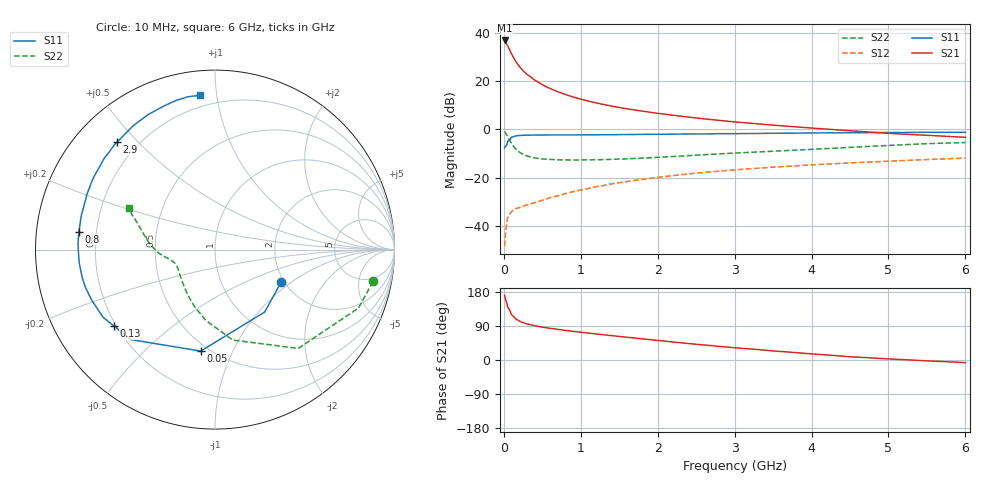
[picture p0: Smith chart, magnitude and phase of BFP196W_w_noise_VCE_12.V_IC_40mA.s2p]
! Infineon Technologies  Discrete & RF Semiconductors
! BFP196W
! VCE =  12. V,  IC =  40 mA
! Common Emitter S-Parameters:  Jan 2017
# GHz  S  MA  R  50
!  f  S11  S21  S12  S22
! GHz  MAG  ANG  MAG  ANG  MAG  ANG  MAG  ANG
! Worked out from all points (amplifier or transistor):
!   77 points, 10 MHz to 6 GHz, reference 50 ohm
!   highest |S21| = 36.8 dB at 10 MHz (marker M1)
!   |S21| within 3 dB of that: start of sweep to 62.11 MHz
!   unconditionally stable (mu >= 1): 802.1 MHz to 3.271 GHz
!   at 130 MHz: K = 0.36, MSG = 31.4 dB, |S12| = -33.4 dB
!   at 2.2 GHz: K = 1.05, MAG = 11.1 dB, |S12| = -19.2 dB
!   at 6 GHz: K = 0.91, MSG = 4.3 dB, |S12| = -11.9 dB
!   lowest NFmin = 1.24 dB at 450 MHz
!   S11 on the Smith chart (normalised r, x): 10 MHz: 1.93, -0.84; 50 MHz: 0.45, -0.76; 130 MHz: 0.19, -0.33; 800 MHz: 0.13, +0.06; 2.9 GHz: 0.13, +0.44; 6 GHz: 0.13, +0.90
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0.01  0.4107 -26.0  69.04 170.7  0.0038 62.1  0.8982 -11.4
0.02  0.4445 -51.5  65.94 161.3  0.0064 75.4  0.8637 -22.1
0.05  0.5709 -98.0  53.58 139.7  0.0148 53.1  0.7199 -49.9
0.1  0.6865 -133.1  36.07 119.4  0.0198 43.4  0.5135 -78.9
0.13  0.7055 -142.8  29.96 114.1  0.0215 40.4  0.4387 -88.8
0.15  0.7288 -148.9  26.08 109.3  0.0227 38.7  0.3983 -97.3
0.2  0.7423 -157.7  20.16 102.8  0.0238 37.9  0.3394 -109.3
0.25  0.752 -163.8  16.37 98.4  0.0256 38.5  0.3022 -118.6
0.3  0.7561 -168.3  13.72 95.3  0.0272 40.7  0.2802 -125.5
0.4  0.7598 -174.2  10.43 90.3  0.0301 45.4  0.2556 -135.5
0.5  0.7608 -178.4  8.366 86.7  0.0339 48.7  0.2434 -142.3
0.6  0.7636 178.0  7 83.6  0.0384 51.8  0.238 -147.1
0.7  0.7638 175.2  5.997 80.9  0.0418 54.3  0.2335 -150.7
0.8  0.765 172.5  5.254 78.1  0.0465 55.9  0.2324 -153.2
1.1  0.7688 165.5  3.837 71.1  0.0597 58.2  0.2331 -158.6
1.5  0.7762 157.3  2.827 62.2  0.0783 58.6  0.2418 -163.5
2.1  0.7898 145.8  2.045 49.6  0.1055 56.3  0.2678 -169.5
2.9  0.8103 132.3  1.474 34.2  0.1402 51.0  0.3154 -176.8
3.1  0.8139 129.2  1.38 30.8  0.1482 49.4  0.3273 -178.8
4.1  0.8404 114.9  1.034 14.7  0.1868 41.9  0.3916 170.2
5.1  0.859 104.1  0.809 1.9  0.2218 34.2  0.4708 159.8
6  0.8639 95.6  0.682 -6.9  0.2534 27.4  0.5313 154.1
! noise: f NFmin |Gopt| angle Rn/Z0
0.45  1.24  0.48  -179  0.06
0.9  1.39  0.54  -173  0.06
1.9  2.21  0.69  -150  0.14
2.4  2.61  0.73  -145  0.23
